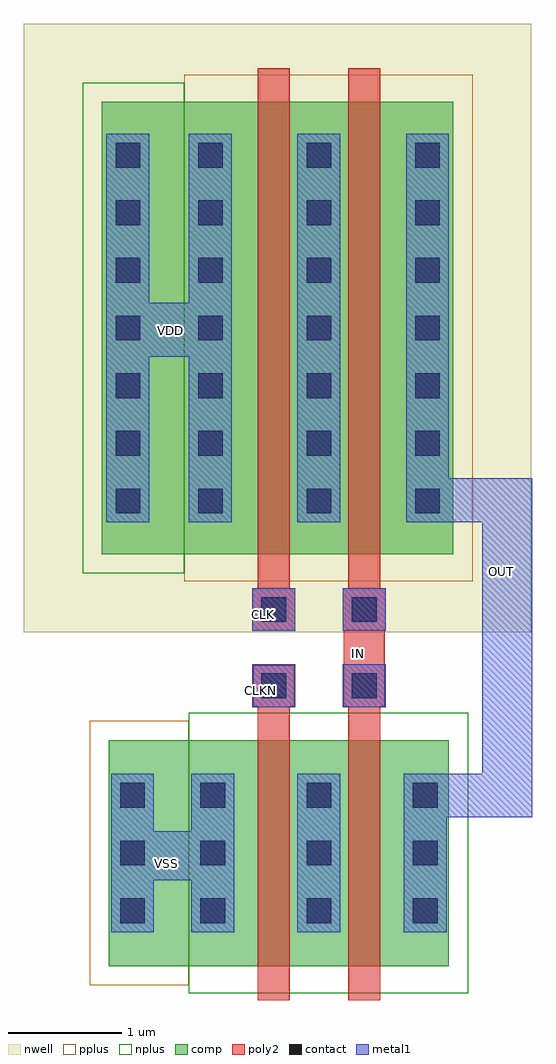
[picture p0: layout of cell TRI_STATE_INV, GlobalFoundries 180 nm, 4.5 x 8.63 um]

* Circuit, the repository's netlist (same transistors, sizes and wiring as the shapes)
** sch_path: /foss/designs/CAD2/TRI_STATE_INV.sch
.subckt TRI_STATE_INV VDD CLK OUT IN CLKN VSS
*.PININFO VSS:B VDD:B CLK:B CLKN:B IN:I OUT:O
M1 net1 CLKN VDD VDD pfet_03v3 L=0.28u W=4u nf=1 m=1
M2 OUT IN net1 VDD pfet_03v3 L=0.28u W=4u nf=1 m=1
M3 OUT IN net2 VSS nfet_03v3 L=0.28u W=2u nf=1 m=1
M4 net2 CLK VSS VSS nfet_03v3 L=0.28u W=2u nf=1 m=1
.ends

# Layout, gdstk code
from math import pi, radians
import gdstk
lib = gdstk.Library(unit=1e-6, precision=5e-09)
def R(c, l, rs):  # rectangles x0, y0, x1, y1
    for r in rs: c.add(gdstk.rectangle(r[:2], r[2:], *l))
def A(c, l, x, y, w, h, nx, ny, dx, dy):  # array of equal rectangles
    R(c, l, [(x+i*dx, y+j*dy, x+i*dx+w, y+j*dy+h) for i in range(nx) for j in range(ny)])
nwell = (21, 0)
comp = (22, 0)
poly2 = (30, 0)
pplus = (31, 0)
nplus = (32, 0)
contact = (33, 0)
metal1 = (34, 0)

pfet = lib.new_cell('pfet')
R(pfet, nwell, [(-1.15,-0.69,3.34,4.69)])
R(pfet, comp, [(-0.46,0,0,4), (0,0,1.46,4), (1.46,0,1.92,4), (1.92,0,2.65,4)])
R(pfet, poly2, [(0.19,-0.3,0.47,4.3), (0.99,-0.3,1.27,4.3), (0.14,4.3,0.52,4.68), (0.94,4.3,1.32,4.68)])
R(pfet, pplus, [(-0.63,-0.24,1.92,4.24)])
R(pfet, nplus, [(1.92,-0.17,2.82,4.17)])
A(pfet, contact, -0.34, 0.36, 0.22, 0.22, 3, 7, 0.96, 0.51)
A(pfet, contact, 2.31, 0.36, 0.22, 0.22, 1, 7, 0, 0.51)
R(pfet, contact, [(0.22,4.38,0.44,4.6), (1.02,4.38,1.24,4.6)])
A(pfet, metal1, -0.42, 0.28, 0.38, 3.44, 3, 1, 0.96, 0)
R(pfet, metal1, [(2.23,0.28,2.61,3.72), (0.14,4.3,0.52,4.68), (0.94,4.3,1.32,4.68)])

nfet_1 = lib.new_cell('nfet$1')
R(nfet_1, comp, [(-0.42,0,0,2), (0,0,1.46,2), (1.46,0,1.88,2), (1.88,0,2.59,2)])
R(nfet_1, poly2, [(0.19,-0.3,0.47,2.3), (0.99,-0.3,1.27,2.3), (0.15,2.3,0.51,2.66), (0.95,2.3,1.31,2.66)])
R(nfet_1, pplus, [(1.88,-0.17,2.76,2.17)])
R(nfet_1, nplus, [(-0.59,-0.24,1.88,2.24)])
A(nfet_1, contact, -0.32, 0.38, 0.22, 0.22, 3, 3, 0.94, 0.51)
A(nfet_1, contact, 2.27, 0.38, 0.22, 0.22, 1, 3, 0, 0.51)
R(nfet_1, contact, [(0.22,2.37,0.44,2.59), (1.02,2.37,1.24,2.59)])
A(nfet_1, metal1, -0.4, 0.3, 0.38, 1.4, 3, 1, 0.94, 0)
R(nfet_1, metal1, [(2.19,0.3,2.57,1.7), (0.14,2.29,0.52,2.67), (0.94,2.29,1.32,2.67)])

tri_state_inv = lib.new_cell('TRI_STATE_INV')
R(tri_state_inv, poly2, [(5.835,6.155,6.195,7.2)])
R(tri_state_inv, metal1, [(3.775,4.615,4.865,5.05), (6.365,5.17,7.5,5.555), (7.06,5.17,7.5,8.165), (6.385,7.78,7.495,8.17), (3.735,9.245,4.845,9.725)])
tri_state_inv.add(gdstk.Reference(pfet, (6.345,11.5), rotation=pi))
tri_state_inv.add(gdstk.Reference(nfet_1, (6.345,3.855), rotation=pi, x_reflection=True))
tri_state_inv.add(gdstk.Label('CLKN', (5.095,6.295), layer=34, texttype=10))
tri_state_inv.add(gdstk.Label('CLK', (5.12,6.97), layer=34, texttype=10))
tri_state_inv.add(gdstk.Label('IN', (5.965,6.625), layer=34, texttype=10))
tri_state_inv.add(gdstk.Label('OUT', (7.23,7.345), layer=34, texttype=10))
tri_state_inv.add(gdstk.Label('VDD', (4.305,9.475), layer=34, texttype=10))
tri_state_inv.add(gdstk.Label('VSS', (4.265,4.76), layer=34, texttype=10))

lib.write_gds('TRI_STATE_INV.gds')
